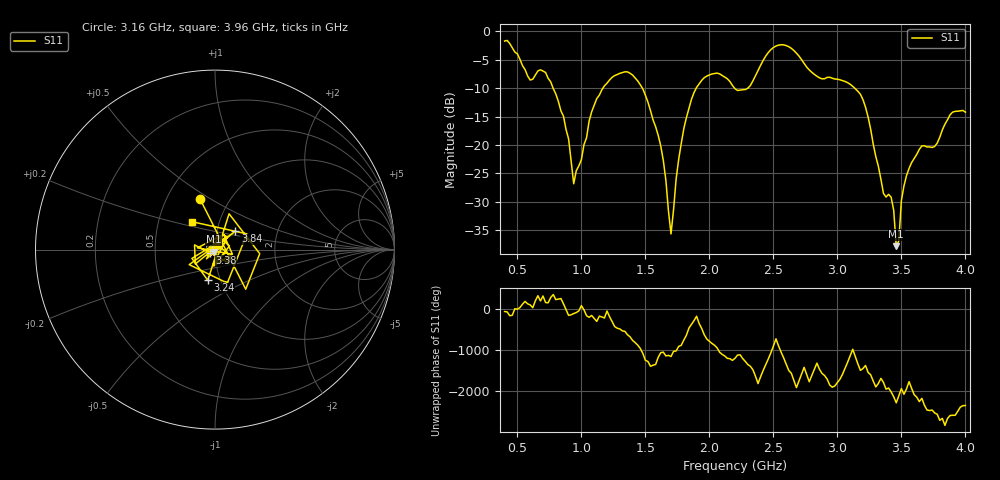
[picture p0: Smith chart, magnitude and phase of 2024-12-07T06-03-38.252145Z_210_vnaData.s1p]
!Created with skrf (http://scikit-rf.org).
# Hz S RI R 50.0
!freq ReS11 ImS11
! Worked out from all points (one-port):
!   181 points, 400 MHz to 4 GHz, reference 50 ohm
!   lowest |S11| = -37.8 dB at 3.46 GHz (marker M1), VSWR 1.03, Z = 49.3 - j1.04 ohm
!   |S11| at or under -10 dB: 778.8 MHz to 1.168 GHz (389.4 MHz wide, 40 % of centre); 1.476 GHz to 1.897 GHz (420.8 MHz wide, 25 % of centre); 3.135 GHz to end of sweep (the widest 3 of 4)
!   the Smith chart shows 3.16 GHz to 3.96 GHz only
!   S11 on the Smith chart (normalised r, x): 3.16 GHz: 0.73, +0.45; 3.24 GHz: 0.87, -0.31; 3.38 GHz: 0.94, -0.03; 3.84 GHz: 1.22, +0.26; 3.96 GHz: 0.74, +0.24
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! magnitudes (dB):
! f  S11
! 400 MHz  -1.7
! 600 MHz  -8.6
! 720 MHz  -7.2
! 860 MHz  -14.9
! 940 MHz  -26.8
! 1.12 GHz  -11.8
! 1.3 GHz  -7.4
! 1.52 GHz  -12.5
! 1.64 GHz  -22.7
! 1.7 GHz  -35.7
! 1.76 GHz  -22.5
! 1.86 GHz  -12.0
! 1.94 GHz  -8.6
! 2.2 GHz  -10.1
! 2.5 GHz  -2.9
! 2.66 GHz  -3.4
! 3.1 GHz  -9.3
! 3.16 GHz  -10.6
! 3.24 GHz  -15.1
! 3.38 GHz  -29.2
! 3.42 GHz  -29.2
! 3.46 GHz  -37.8
! 3.48 GHz  -36.9
! 3.5 GHz  -29.8
! 3.56 GHz  -24.1
! 3.84 GHz  -16.4
! 3.96 GHz  -14.0
! 4 GHz  -14.2
